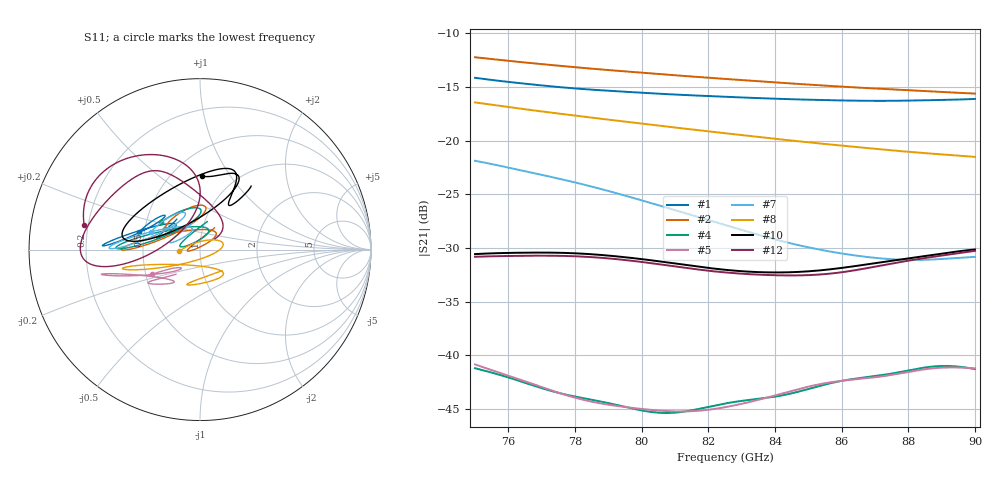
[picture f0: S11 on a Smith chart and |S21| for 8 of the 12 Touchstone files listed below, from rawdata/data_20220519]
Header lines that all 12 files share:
!SWISSto12 MCK measurement data
# GHz S RI R 50.0
!freq ReS11 ImS11 ReS21 ImS21 ReS12 ImS12 ReS22 ImS22
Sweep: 75 GHz to 90 GHz
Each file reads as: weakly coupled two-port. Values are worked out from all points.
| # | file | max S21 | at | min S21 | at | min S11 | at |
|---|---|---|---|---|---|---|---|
| 1 | Asphalt_58421AC8DS_19052022_1.s2p | -14.14 dB | 75 GHz | -16.3 dB | 87.11 GHz | -14.1 dB | 85.58 GHz |
| 2 | Asphalt_58421130CI_19052022_1.s2p | -12.22 dB | 75 GHz | -15.6 dB | 90 GHz | -37.3 dB | 86.52 GHz |
| 3 | Asphalt_58421130CI_19052022_2.s2p | -12.23 dB | 75 GHz | -16.2 dB | 90 GHz | -24.5 dB | 77.89 GHz |
| 4 | Asphalt_LPD1421LV_19052022_1.s2p | -40.98 dB | 89.11 GHz | -45.4 dB | 80.73 GHz | -25.8 dB | 86.31 GHz |
| 5 | Asphalt_LPD1421LV_19052022_2.s2p | -40.84 dB | 75 GHz | -45.2 dB | 81.17 GHz | -16.3 dB | 77.95 GHz |
| 6 | Concrete_19052022_1.s2p | -18.48 dB | 75 GHz | -24.3 dB | 90 GHz | -41.2 dB | 88.66 GHz |
| 7 | Concrete_19052022_2.s2p | -21.86 dB | 75 GHz | -31.1 dB | 88.17 GHz | -19.0 dB | 85.83 GHz |
| 8 | Concrete_19052022_2_2.s2p | -16.43 dB | 75 GHz | -21.5 dB | 90 GHz | -26.9 dB | 76.36 GHz |
| 9 | Concrete_19052022_2_3.s2p | -15.16 dB | 75 GHz | -18.3 dB | 90 GHz | -40.6 dB | 84.11 GHz |
| 10 | Sample_wheel_rubber_1.s2p | -30.13 dB | 90 GHz | -32.3 dB | 84.03 GHz | -15.6 dB | 79.8 GHz |
| 11 | wheel_rubber.s2p | -30.23 dB | 90 GHz | -32.3 dB | 83.84 GHz | -15.6 dB | 79.8 GHz |
| 12 | wheel_rubber_2.s2p | -30.26 dB | 90 GHz | -32.5 dB | 84.48 GHz | -19.3 dB | 90 GHz |
